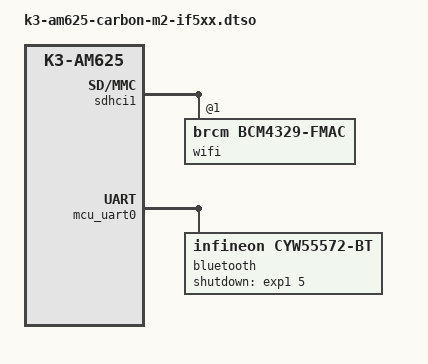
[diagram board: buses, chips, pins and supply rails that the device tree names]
// SPDX-License-Identifier: GPL-2.0
/*
 * M.2 SDIO IF5xx module
 * Copyright (C) 2024 Ezurio LLC
 */

#include "k3-am625-carbon-m2.dtsi"

&sdhci1 { /* SDIO_A uSD / M.2_SDIO */
	#address-cells = <1>;
	#size-cells = <0>;

	wifi@1 {
		reg = <1>;
		compatible = "brcm,bcm4329-fmac";
		laird,regdomain = "US";
	};
};

&mcu_uart0 {
	bluetooth {
		compatible = "infineon,cyw55572-bt";
		brcm,requires-autobaud-mode;
		max-speed = <921600>;
		shutdown-gpios = <&exp1 5 GPIO_ACTIVE_HIGH>;
	};
};
